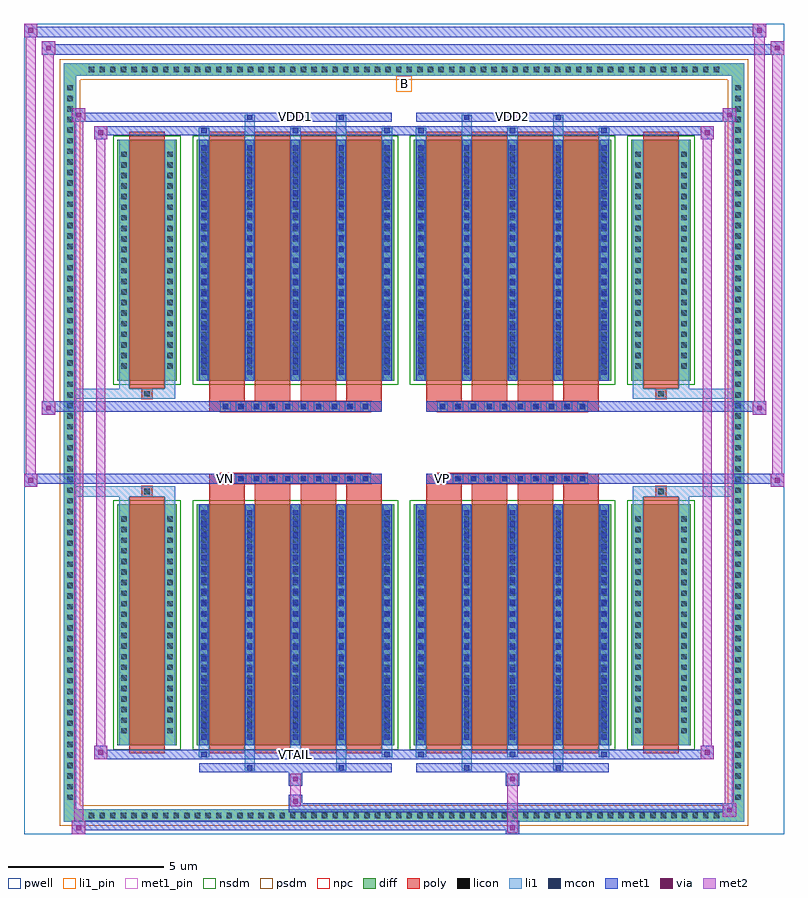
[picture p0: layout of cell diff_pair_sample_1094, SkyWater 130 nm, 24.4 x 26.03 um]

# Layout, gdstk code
import gdstk
lib = gdstk.Library(unit=1e-6, precision=5e-09)
def R(c, l, rs):  # rectangles x0, y0, x1, y1
    for r in rs: c.add(gdstk.rectangle(r[:2], r[2:], *l))
def A(c, l, x, y, w, h, nx, ny, dx, dy):  # array of equal rectangles
    R(c, l, [(x+i*dx, y+j*dy, x+i*dx+w, y+j*dy+h) for i in range(nx) for j in range(ny)])
def P(c, l, *ps):  # polygons
    for p in ps: c.add(gdstk.Polygon(p, *l))
pwell = (64, 44)
diff = (65, 20)
poly = (66, 20)
licon = (66, 44)
li1_pin = (67, 16)
li1 = (67, 20)
mcon = (67, 44)
met1_pin = (68, 16)
met1 = (68, 20)
via = (68, 44)
met2 = (69, 20)
nsdm = (93, 44)
psdm = (94, 20)
npc = (95, 20)

diff_pair_sample_1094 = lib.new_cell('diff_pair_sample_1094')
R(diff_pair_sample_1094, pwell, [(-12.2,-12.58,12.2,13.45), (-9.52,-10.77,-0.01,-0.795), (0.01,-10.77,9.52,-0.795), (-9.52,0.795,-0.01,10.77), (0.01,0.795,9.52,10.77)])
A(diff_pair_sample_1094, diff, -10.235, -12.18, 0.41, 0.41, 60, 2, 0.34, 23.95)
A(diff_pair_sample_1094, diff, -10.93, -11.595, 0.41, 0.41, 1, 68, 0, 0.34)
A(diff_pair_sample_1094, diff, 10.52, -11.595, 0.41, 0.41, 1, 68, 0, 0.34)
R(diff_pair_sample_1094, diff, [(-10.235,-12.18,10.235,-11.77), (-10.93,-11.595,-10.52,11.595), (10.52,-11.595,10.93,11.595), (-9.21,-9.725,-7.29,-1.985), (-6.65,-9.725,-0.32,-1.985), (0.32,-9.725,6.65,-1.985), (7.29,-9.725,9.21,-1.985), (-9.21,1.985,-7.29,9.725), (-6.65,1.985,-0.32,9.725), (0.32,1.985,6.65,9.725), (7.29,1.985,9.21,9.725), (-10.235,11.77,10.235,12.18)])
P(diff_pair_sample_1094, diff, [(10.93,12.18),(-10.93,12.18),(-10.93,-11.77),(-10.52,-11.77),(-10.52,11.77),(10.52,11.77),(10.52,-11.77),(-10.52,-11.77),(-10.93,-11.77),(-10.93,-12.18),(10.93,-12.18)])
A(diff_pair_sample_1094, poly, -6.26, -9.975, 1.14, 8.24, 4, 2, 1.47, 11.71)
A(diff_pair_sample_1094, poly, 0.71, -9.975, 1.14, 8.24, 4, 2, 1.47, 11.71)
A(diff_pair_sample_1094, poly, -6.26, -1.735, 1.14, 0.41, 4, 2, 1.47, 3.06)
A(diff_pair_sample_1094, poly, 0.71, -1.735, 1.14, 0.41, 4, 2, 1.47, 3.06)
A(diff_pair_sample_1094, poly, -5.9, -1.325, 0.33, 0.33, 10, 2, 0.5, 2.32)
A(diff_pair_sample_1094, poly, 1.07, -1.325, 0.33, 0.33, 10, 2, 0.5, 2.32)
R(diff_pair_sample_1094, poly, [(-8.82,-9.975,-7.68,-1.735), (7.68,-9.975,8.82,-1.735), (-8.415,-1.735,-8.085,-1.405), (-8.415,-1.735,-8.085,-1.405), (8.085,-1.735,8.415,-1.405), (8.085,-1.735,8.415,-1.405), (-6.26,-1.325,-0.71,-0.995), (0.71,-1.325,6.26,-0.995), (-6.26,0.995,-0.71,1.325), (0.71,0.995,6.26,1.325), (-8.415,1.405,-8.085,1.735), (-8.415,1.405,-8.085,1.735), (8.085,1.405,8.415,1.735), (8.085,1.405,8.415,1.735), (-8.82,1.735,-7.68,9.975), (7.68,1.735,8.82,9.975)])
A(diff_pair_sample_1094, licon, -10.115, -12.06, 0.17, 0.17, 60, 2, 0.34, 23.95)
A(diff_pair_sample_1094, licon, -10.81, -11.475, 0.17, 0.17, 1, 68, 0, 0.34)
A(diff_pair_sample_1094, licon, 10.64, -11.475, 0.17, 0.17, 1, 68, 0, 0.34)
A(diff_pair_sample_1094, licon, -9.07, -9.34, 0.17, 0.17, 1, 21, 0, 0.34)
A(diff_pair_sample_1094, licon, -7.6, -9.34, 0.17, 0.17, 1, 21, 0, 0.34)
A(diff_pair_sample_1094, licon, -6.51, -9.34, 0.17, 0.17, 5, 21, 1.47, 0.34)
A(diff_pair_sample_1094, licon, 0.46, -9.34, 0.17, 0.17, 5, 21, 1.47, 0.34)
A(diff_pair_sample_1094, licon, 7.43, -9.34, 0.17, 0.17, 1, 21, 0, 0.34)
A(diff_pair_sample_1094, licon, 8.9, -9.34, 0.17, 0.17, 1, 21, 0, 0.34)
A(diff_pair_sample_1094, licon, -5.82, -1.245, 0.17, 0.17, 10, 2, 0.5, 2.32)
A(diff_pair_sample_1094, licon, 1.15, -1.245, 0.17, 0.17, 10, 2, 0.5, 2.32)
A(diff_pair_sample_1094, licon, -9.07, 2.37, 0.17, 0.17, 1, 21, 0, 0.34)
A(diff_pair_sample_1094, licon, -7.6, 2.37, 0.17, 0.17, 1, 21, 0, 0.34)
A(diff_pair_sample_1094, licon, -6.51, 2.37, 0.17, 0.17, 5, 21, 1.47, 0.34)
A(diff_pair_sample_1094, licon, 0.46, 2.37, 0.17, 0.17, 5, 21, 1.47, 0.34)
A(diff_pair_sample_1094, licon, 7.43, 2.37, 0.17, 0.17, 1, 21, 0, 0.34)
A(diff_pair_sample_1094, licon, 8.9, 2.37, 0.17, 0.17, 1, 21, 0, 0.34)
R(diff_pair_sample_1094, licon, [(-8.335,-1.655,-8.165,-1.485), (8.165,-1.655,8.335,-1.485), (-8.335,1.485,-8.165,1.655), (8.165,1.485,8.335,1.655)])
R(diff_pair_sample_1094, li1_pin, [(-0.25,11.27,0.25,11.77)])
A(diff_pair_sample_1094, li1, -10.195, -12.14, 0.33, 0.33, 60, 2, 0.34, 23.95)
A(diff_pair_sample_1094, li1, -10.89, -11.555, 0.33, 0.33, 1, 68, 0, 0.34)
A(diff_pair_sample_1094, li1, 10.56, -11.555, 0.33, 0.33, 1, 68, 0, 0.34)
A(diff_pair_sample_1094, li1, -6.59, -10.1, 0.33, 0.375, 3, 2, 2.94, 19.825)
A(diff_pair_sample_1094, li1, -6.51, -10.1, 0.17, 0.17, 3, 2, 2.94, 20.03)
A(diff_pair_sample_1094, li1, 0.38, -10.1, 0.33, 0.375, 3, 2, 2.94, 19.825)
A(diff_pair_sample_1094, li1, 0.46, -10.1, 0.17, 0.17, 3, 2, 2.94, 20.03)
A(diff_pair_sample_1094, li1, -6.59, -9.725, 0.33, 7.74, 5, 2, 1.47, 11.71)
A(diff_pair_sample_1094, li1, 0.38, -9.725, 0.33, 7.74, 5, 2, 1.47, 11.71)
A(diff_pair_sample_1094, li1, -6.51, -9.54, 0.17, 0.17, 5, 21, 1.47, 0.36)
A(diff_pair_sample_1094, li1, -6.51, -9.54, 0.17, 7.37, 5, 2, 1.47, 11.71)
A(diff_pair_sample_1094, li1, 0.46, -9.54, 0.17, 0.17, 5, 21, 1.47, 0.36)
A(diff_pair_sample_1094, li1, 0.46, -9.54, 0.17, 7.37, 5, 2, 1.47, 11.71)
A(diff_pair_sample_1094, li1, -9.15, -9.42, 0.33, 0.33, 1, 21, 0, 0.34)
A(diff_pair_sample_1094, li1, -7.68, -9.42, 0.33, 0.33, 1, 21, 0, 0.34)
A(diff_pair_sample_1094, li1, -6.59, -9.42, 0.33, 0.33, 5, 21, 1.47, 0.34)
A(diff_pair_sample_1094, li1, 0.38, -9.42, 0.33, 0.33, 5, 21, 1.47, 0.34)
A(diff_pair_sample_1094, li1, 7.35, -9.42, 0.33, 0.33, 1, 21, 0, 0.34)
A(diff_pair_sample_1094, li1, 8.82, -9.42, 0.33, 0.33, 1, 21, 0, 0.34)
A(diff_pair_sample_1094, li1, -5.9, -1.325, 0.33, 0.33, 10, 2, 0.5, 2.32)
A(diff_pair_sample_1094, li1, 1.07, -1.325, 0.33, 0.33, 10, 2, 0.5, 2.32)
A(diff_pair_sample_1094, li1, -6.51, 2.17, 0.17, 0.17, 5, 21, 1.47, 0.36)
A(diff_pair_sample_1094, li1, 0.46, 2.17, 0.17, 0.17, 5, 21, 1.47, 0.36)
A(diff_pair_sample_1094, li1, -9.15, 2.29, 0.33, 0.33, 1, 21, 0, 0.34)
A(diff_pair_sample_1094, li1, -7.68, 2.29, 0.33, 0.33, 1, 21, 0, 0.34)
A(diff_pair_sample_1094, li1, -6.59, 2.29, 0.33, 0.33, 5, 21, 1.47, 0.34)
A(diff_pair_sample_1094, li1, 0.38, 2.29, 0.33, 0.33, 5, 21, 1.47, 0.34)
A(diff_pair_sample_1094, li1, 7.35, 2.29, 0.33, 0.33, 1, 21, 0, 0.34)
A(diff_pair_sample_1094, li1, 8.82, 2.29, 0.33, 0.33, 1, 21, 0, 0.34)
R(diff_pair_sample_1094, li1, [(-10.93,-12.18,-10.52,-11.77), (-10.93,-12.18,-10.52,-11.77), (-10.52,-12.18,10.52,-11.77), (10.52,-12.18,10.93,-11.77), (10.52,-12.18,10.93,-11.77), (-10.93,-11.77,-10.52,11.77), (10.52,-11.77,10.93,11.77), (-5.12,-10.53,-4.79,-9.725), (-5.04,-10.53,-4.87,-10.36), (-2.18,-10.53,-1.85,-9.725), (-2.1,-10.53,-1.93,-10.36), (1.85,-10.53,2.18,-9.725), (1.93,-10.53,2.1,-10.36), (4.79,-10.53,5.12,-9.725), (4.87,-10.53,5.04,-10.36), (-9.15,-9.725,-8.82,-1.985), (-7.68,-9.725,-7.35,-1.985), (7.35,-9.725,7.68,-1.985), (8.82,-9.725,9.15,-1.985), (-9.15,-1.985,-8.82,-1.405), (-7.68,-1.985,-7.35,-1.405), (7.35,-1.985,7.68,-1.405), (8.82,-1.985,9.15,-1.405), (-10.93,-1.735,-8.415,-1.405), (-9.15,-1.735,-8.415,-1.405), (-8.415,-1.735,-8.085,-1.405), (-8.085,-1.735,-7.35,-1.405), (7.35,-1.735,8.085,-1.405), (8.085,-1.735,8.415,-1.405), (8.085,-1.735,10.93,-1.405), (8.415,-1.735,9.15,-1.405), (-10.93,1.405,-8.415,1.735), (-9.15,1.405,-8.415,1.735), (-9.15,1.405,-8.82,1.985), (-8.415,1.405,-8.085,1.735), (-8.085,1.405,-7.35,1.735), (-7.68,1.405,-7.35,1.985), (7.35,1.405,8.085,1.735), (7.35,1.405,7.68,1.985), (8.085,1.405,8.415,1.735), (8.085,1.405,10.93,1.735), (8.415,1.405,9.15,1.735), (8.82,1.405,9.15,1.985), (-9.15,1.985,-8.82,9.725), (-7.68,1.985,-7.35,9.725), (7.35,1.985,7.68,9.725), (8.82,1.985,9.15,9.725), (-5.12,9.725,-4.79,10.53), (-2.18,9.725,-1.85,10.53), (1.85,9.725,2.18,10.53), (4.79,9.725,5.12,10.53), (-5.04,10.36,-4.87,10.53), (-2.1,10.36,-1.93,10.53), (1.93,10.36,2.1,10.53), (4.87,10.36,5.04,10.53), (-10.93,11.77,-10.52,12.18), (-10.93,11.77,-10.52,12.18), (-10.52,11.77,10.52,12.18), (10.52,11.77,10.93,12.18), (10.52,11.77,10.93,12.18)])
A(diff_pair_sample_1094, mcon, -6.51, -10.1, 0.17, 0.17, 3, 2, 2.94, 20.03)
A(diff_pair_sample_1094, mcon, 0.46, -10.1, 0.17, 0.17, 3, 2, 2.94, 20.03)
A(diff_pair_sample_1094, mcon, -6.51, -9.54, 0.17, 0.17, 5, 21, 1.47, 0.36)
A(diff_pair_sample_1094, mcon, 0.46, -9.54, 0.17, 0.17, 5, 21, 1.47, 0.36)
A(diff_pair_sample_1094, mcon, -5.82, -1.245, 0.17, 0.17, 10, 2, 0.5, 2.32)
A(diff_pair_sample_1094, mcon, 1.15, -1.245, 0.17, 0.17, 10, 2, 0.5, 2.32)
A(diff_pair_sample_1094, mcon, -6.51, 2.17, 0.17, 0.17, 5, 21, 1.47, 0.36)
A(diff_pair_sample_1094, mcon, 0.46, 2.17, 0.17, 0.17, 5, 21, 1.47, 0.36)
R(diff_pair_sample_1094, mcon, [(-5.04,-10.53,-4.87,-10.36), (-2.1,-10.53,-1.93,-10.36), (1.93,-10.53,2.1,-10.36), (4.87,-10.53,5.04,-10.36), (-5.04,10.36,-4.87,10.53), (-2.1,10.36,-1.93,10.53), (1.93,10.36,2.1,10.53), (4.87,10.36,5.04,10.53)])
R(diff_pair_sample_1094, met1_pin, [(-3.62,-10.14,-3.35,-9.87), (-5.87,-1.285,-5.6,-1.015), (1.1,-1.285,1.37,-1.015), (-3.62,10.32,-3.35,10.59), (3.35,10.32,3.62,10.59)])
A(diff_pair_sample_1094, met1, -6.57, -10.16, 0.29, 0.29, 3, 2, 2.94, 20.03)
A(diff_pair_sample_1094, met1, 0.4, -10.16, 0.29, 0.29, 3, 2, 2.94, 20.03)
A(diff_pair_sample_1094, met1, -6.57, -9.725, 0.29, 7.74, 5, 2, 1.47, 11.71)
A(diff_pair_sample_1094, met1, 0.4, -9.725, 0.29, 7.74, 5, 2, 1.47, 11.71)
A(diff_pair_sample_1094, met1, -6.57, -9.6, 0.29, 0.29, 5, 21, 1.47, 0.36)
A(diff_pair_sample_1094, met1, 0.4, -9.6, 0.29, 0.29, 5, 21, 1.47, 0.36)
A(diff_pair_sample_1094, met1, -5.88, -1.305, 0.29, 0.29, 10, 2, 0.5, 2.32)
A(diff_pair_sample_1094, met1, 1.09, -1.305, 0.29, 0.29, 10, 2, 0.5, 2.32)
A(diff_pair_sample_1094, met1, -6.57, 2.11, 0.29, 0.29, 5, 21, 1.47, 0.36)
A(diff_pair_sample_1094, met1, 0.4, 2.11, 0.29, 0.29, 5, 21, 1.47, 0.36)
R(diff_pair_sample_1094, met1, [(-10.66,-12.58,-10.23,-12.15), (3.27,-12.58,3.7,-12.15), (-10.66,-12.44,3.7,-12.15), (10.23,-12.01,10.66,-11.58), (-3.7,-11.87,10.66,-11.58), (-3.7,-11.73,-3.27,-11.3), (-3.7,-11.02,-3.27,-10.59), (3.27,-11.02,3.7,-10.59), (-6.57,-10.59,-0.4,-10.3), (-5.1,-10.59,-4.81,-10.3), (-2.16,-10.59,-1.87,-10.3), (0.4,-10.59,6.57,-10.3), (1.87,-10.59,2.16,-10.3), (4.81,-10.59,5.1,-10.3), (-9.95,-10.16,-9.52,-9.73), (-9.95,-10.16,-6.57,-9.87), (-6.57,-10.16,-0.4,-9.87), (-0.4,-10.16,0.4,-9.87), (0.4,-10.16,6.57,-9.87), (6.57,-10.16,9.95,-9.87), (9.52,-10.16,9.95,-9.73), (-12.2,-1.425,-11.77,-0.995), (11.77,-1.425,12.2,-0.995), (-12.2,-1.325,-0.71,-0.995), (-6.26,-1.325,-0.71,-0.995), (0.71,-1.325,6.26,-0.995), (0.71,-1.325,12.2,-0.995), (-11.63,0.895,-11.2,1.325), (11.2,0.895,11.63,1.325), (-11.63,0.995,-6.26,1.325), (-6.26,0.995,-0.71,1.325), (0.71,0.995,6.26,1.325), (6.26,0.995,11.63,1.325), (-9.95,9.73,-9.52,10.16), (9.52,9.73,9.95,10.16), (-9.95,9.87,-6.57,10.16), (-6.57,9.87,-0.4,10.16), (-0.4,9.87,0.4,10.16), (0.4,9.87,6.57,10.16), (6.57,9.87,9.95,10.16), (-10.66,10.3,-10.23,10.73), (-10.66,10.3,-6.57,10.59), (-6.57,10.3,-0.4,10.59), (-5.1,10.3,-4.81,10.59), (-2.16,10.3,-1.87,10.59), (0.4,10.3,6.57,10.59), (1.87,10.3,2.16,10.59), (4.81,10.3,5.1,10.59), (6.57,10.3,10.66,10.59), (10.23,10.3,10.66,10.73), (-11.63,12.45,-11.2,12.88), (-11.63,12.45,-9.52,12.78), (-9.52,12.45,9.52,12.78), (9.52,12.45,12.2,12.78), (11.77,12.45,12.2,12.88), (-12.2,13.02,-11.77,13.45), (-12.2,13.02,-9.52,13.35), (-9.52,13.02,9.52,13.35), (9.52,13.02,11.63,13.35), (11.2,13.02,11.63,13.45)])
R(diff_pair_sample_1094, via, [(-10.52,-12.44,-10.37,-12.29), (3.41,-12.44,3.56,-12.29), (10.37,-11.87,10.52,-11.72), (-3.56,-11.59,-3.41,-11.44), (-3.56,-10.88,-3.41,-10.73), (3.41,-10.88,3.56,-10.73), (-9.81,-10.02,-9.66,-9.87), (9.66,-10.02,9.81,-9.87), (-12.06,-1.285,-11.91,-1.135), (11.91,-1.285,12.06,-1.135), (-11.49,1.035,-11.34,1.185), (11.34,1.035,11.49,1.185), (-9.81,9.87,-9.66,10.02), (9.66,9.87,9.81,10.02), (-10.52,10.44,-10.37,10.59), (10.37,10.44,10.52,10.59), (-11.49,12.59,-11.34,12.74), (11.91,12.59,12.06,12.74), (-12.06,13.16,-11.91,13.31), (11.34,13.16,11.49,13.31)])
R(diff_pair_sample_1094, met2, [(-10.66,-12.58,-10.23,-12.15), (-10.59,-12.58,-10.3,10.73), (-10.3,-12.58,-10.23,-12.15), (-10.61,-12.53,-10.28,-12.2), (3.32,-12.53,3.65,-12.2), (3.32,-12.2,3.65,-10.97), (10.23,-12.01,10.66,-11.58), (10.3,-12.01,10.59,10.73), (10.59,-12.01,10.66,-11.58), (10.28,-11.96,10.61,-11.63), (-3.65,-11.68,-3.32,-11.35), (-3.65,-11.35,-3.32,-10.97), (-3.65,-10.97,-3.32,-10.64), (3.32,-10.97,3.65,-10.64), (-9.95,-10.16,-9.52,-9.73), (-9.88,-10.16,-9.59,10.16), (-9.59,-10.16,-9.52,-9.73), (9.52,-10.16,9.95,-9.73), (9.59,-10.16,9.88,10.16), (9.88,-10.16,9.95,-9.73), (-9.9,-10.11,-9.57,-9.78), (9.57,-10.11,9.9,-9.78), (-12.2,-1.425,-11.77,-0.995), (-12.15,-1.425,-11.82,13.45), (-11.82,-1.425,-11.77,-0.995), (11.77,-1.425,12.2,-0.995), (11.82,-1.425,12.15,12.88), (12.15,-1.425,12.2,-0.995), (-12.15,-1.375,-11.82,-1.045), (11.82,-1.375,12.15,-1.045), (-11.63,0.895,-11.2,1.325), (-11.58,0.895,-11.25,12.88), (-11.25,0.895,-11.2,1.325), (11.2,0.895,11.63,1.325), (11.25,0.895,11.58,13.45), (11.58,0.895,11.63,1.325), (-11.58,0.945,-11.25,1.275), (11.25,0.945,11.58,1.275), (-9.95,9.73,-9.52,10.16), (-9.59,9.73,-9.52,10.16), (9.52,9.73,9.95,10.16), (9.88,9.73,9.95,10.16), (-9.9,9.78,-9.57,10.11), (9.57,9.78,9.9,10.11), (-10.66,10.3,-10.23,10.73), (-10.3,10.3,-10.23,10.73), (10.23,10.3,10.66,10.73), (10.59,10.3,10.66,10.73), (-10.61,10.35,-10.28,10.68), (10.28,10.35,10.61,10.68), (-11.63,12.45,-11.2,12.88), (-11.25,12.45,-11.2,12.88), (11.77,12.45,12.2,12.88), (12.15,12.45,12.2,12.88), (-11.58,12.5,-11.25,12.83), (11.82,12.5,12.15,12.83), (-12.2,13.02,-11.77,13.45), (-11.82,13.02,-11.77,13.45), (11.2,13.02,11.63,13.45), (11.58,13.02,11.63,13.45), (-12.15,13.07,-11.82,13.4), (11.25,13.07,11.58,13.4)])
R(diff_pair_sample_1094, nsdm, [(-9.34,-9.855,-7.16,-1.855), (-6.78,-9.855,-0.19,-1.855), (0.19,-9.855,6.78,-1.855), (7.16,-9.855,9.34,-1.855), (-9.34,1.855,-7.16,9.855), (-6.78,1.855,-0.19,9.855), (0.19,1.855,6.78,9.855), (7.16,1.855,9.34,9.855)])
P(diff_pair_sample_1094, psdm, [(11.06,12.31),(-11.06,12.31),(-11.06,-11.64),(-10.39,-11.64),(-10.39,11.64),(10.39,11.64),(10.39,-11.64),(-10.39,-11.64),(-11.06,-11.64),(-11.06,-12.31),(11.06,-12.31)])
A(diff_pair_sample_1094, npc, -5.92, -1.345, 0.37, 0.37, 10, 2, 0.5, 2.32)
A(diff_pair_sample_1094, npc, 1.05, -1.345, 0.37, 0.37, 10, 2, 0.5, 2.32)
R(diff_pair_sample_1094, npc, [(-8.435,-1.755,-8.065,-1.385), (8.065,-1.755,8.435,-1.385), (-5.92,-1.345,-5.05,-0.975), (-5.92,-1.345,-5.05,-0.975), (-5.42,-1.345,-4.55,-0.975), (-5.42,-1.345,-4.55,-0.975), (-4.92,-1.345,-4.05,-0.975), (-4.92,-1.345,-4.05,-0.975), (-4.42,-1.345,-3.55,-0.975), (-4.42,-1.345,-3.55,-0.975), (-3.92,-1.345,-3.05,-0.975), (-3.92,-1.345,-3.05,-0.975), (-3.42,-1.345,-2.55,-0.975), (-3.42,-1.345,-2.55,-0.975), (-2.92,-1.345,-2.05,-0.975), (-2.92,-1.345,-2.05,-0.975), (-2.42,-1.345,-1.55,-0.975), (-2.42,-1.345,-1.55,-0.975), (-1.92,-1.345,-1.05,-0.975), (-1.92,-1.345,-1.05,-0.975), (1.05,-1.345,1.92,-0.975), (1.05,-1.345,1.92,-0.975), (1.55,-1.345,2.42,-0.975), (1.55,-1.345,2.42,-0.975), (2.05,-1.345,2.92,-0.975), (2.05,-1.345,2.92,-0.975), (2.55,-1.345,3.42,-0.975), (2.55,-1.345,3.42,-0.975), (3.05,-1.345,3.92,-0.975), (3.05,-1.345,3.92,-0.975), (3.55,-1.345,4.42,-0.975), (3.55,-1.345,4.42,-0.975), (4.05,-1.345,4.92,-0.975), (4.05,-1.345,4.92,-0.975), (4.55,-1.345,5.42,-0.975), (4.55,-1.345,5.42,-0.975), (5.05,-1.345,5.92,-0.975), (5.05,-1.345,5.92,-0.975), (-5.92,0.975,-5.05,1.345), (-5.92,0.975,-5.05,1.345), (-5.42,0.975,-4.55,1.345), (-5.42,0.975,-4.55,1.345), (-4.92,0.975,-4.05,1.345), (-4.92,0.975,-4.05,1.345), (-4.42,0.975,-3.55,1.345), (-4.42,0.975,-3.55,1.345), (-3.92,0.975,-3.05,1.345), (-3.92,0.975,-3.05,1.345), (-3.42,0.975,-2.55,1.345), (-3.42,0.975,-2.55,1.345), (-2.92,0.975,-2.05,1.345), (-2.92,0.975,-2.05,1.345), (-2.42,0.975,-1.55,1.345), (-2.42,0.975,-1.55,1.345), (-1.92,0.975,-1.05,1.345), (-1.92,0.975,-1.05,1.345), (1.05,0.975,1.92,1.345), (1.05,0.975,1.92,1.345), (1.55,0.975,2.42,1.345), (1.55,0.975,2.42,1.345), (2.05,0.975,2.92,1.345), (2.05,0.975,2.92,1.345), (2.55,0.975,3.42,1.345), (2.55,0.975,3.42,1.345), (3.05,0.975,3.92,1.345), (3.05,0.975,3.92,1.345), (3.55,0.975,4.42,1.345), (3.55,0.975,4.42,1.345), (4.05,0.975,4.92,1.345), (4.05,0.975,4.92,1.345), (4.55,0.975,5.42,1.345), (4.55,0.975,5.42,1.345), (5.05,0.975,5.92,1.345), (5.05,0.975,5.92,1.345), (-8.435,1.385,-8.065,1.755), (8.065,1.385,8.435,1.755)])
diff_pair_sample_1094.add(gdstk.Label('VTAIL', (-3.485,-10.005), layer=68, texttype=5))
diff_pair_sample_1094.add(gdstk.Label('VN', (-5.735,-1.15), layer=68, texttype=5))
diff_pair_sample_1094.add(gdstk.Label('VP', (1.235,-1.15), layer=68, texttype=5))
diff_pair_sample_1094.add(gdstk.Label('B', (0,11.52), layer=67, texttype=5))
diff_pair_sample_1094.add(gdstk.Label('VDD2', (3.485,10.455), layer=68, texttype=5))
diff_pair_sample_1094.add(gdstk.Label('VDD1', (-3.485,10.455), layer=68, texttype=5))

lib.write_gds('diff_pair_sample_1094.gds')
